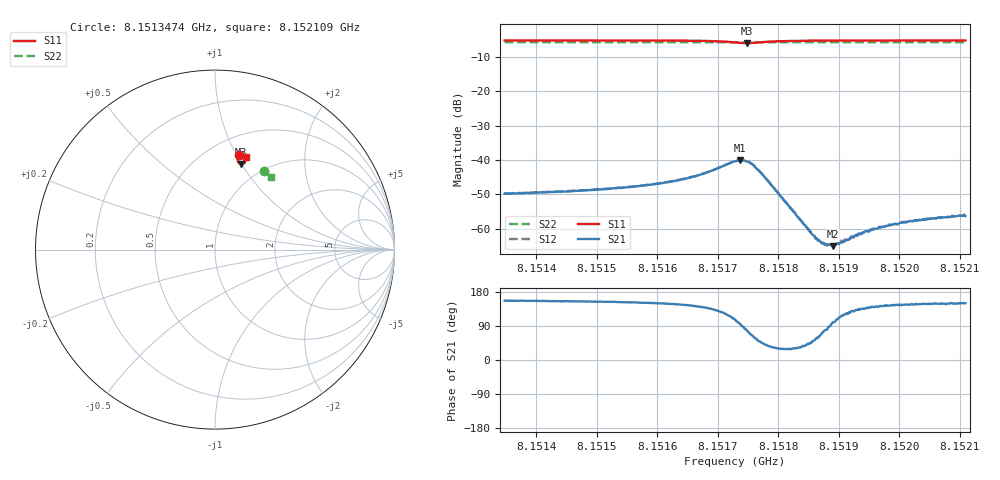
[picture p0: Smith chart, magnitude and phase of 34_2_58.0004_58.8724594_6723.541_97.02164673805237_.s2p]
#  HZ  S  RI  R  50.00
! Rohde & Schwarz Vector Network Analyzer
! Rohde-Schwarz,ZNB20-2Port,1311601062101988,3.16
! Created: UTC 3/21/2024, 12:51:48 AM
! freq[Hz]  re:S11  im:S11  re:S21  im:S21  re:S12  im:S12  re:S22  im:S22
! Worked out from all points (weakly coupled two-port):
!   401 points, 8.1513474 GHz to 8.152109 GHz, reference 50 ohm
!   highest |S21| = -40.03 dB at 8.1517358 GHz (marker M1); lowest = -65.0 dB at 8.15189 GHz (marker M2)
!   lowest |S11| = -6.1 dB at 8.1517472 GHz (marker M3), VSWR 2.98, Z = 39.1 + j49.6 ohm
!   |S11| at or under -10 dB: nowhere
!   |S22| runs from -5.8 to -5.8 dB; largest |S21 - S12| = 0.00027
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8.15134736e9  0.131 0.5278  -0.00299 0.00128  -0.00299 0.00134  0.273 0.4354
8.15147493e9  0.1414 0.525  -0.00326 0.00157  -0.00327 0.00162  0.2801 0.4307
8.15156252e9  0.1498 0.5221  -0.00365 0.00195  -0.00363 0.00202  0.2848 0.4275
8.15160251e9  0.1544 0.5201  -0.00393 0.00229  -0.0039 0.00238  0.287 0.426
8.15166534e9  0.1635 0.513  -0.00466 0.0037  -0.00465 0.00376  0.2903 0.4234
8.15172818e9  0.1639 0.4829  -0.00269 0.00921  -0.00261 0.00932  0.293 0.4199
8.15173579e9  0.157 0.4781  -0.0011 0.00991  -0.000953 0.00995  0.293 0.4197
8.15174722e9  0.1428 0.4769  0.00179 0.0094  0.00194 0.00946  0.2932 0.4195
8.15175864e9  0.1312 0.4848  0.00401 0.00738  0.00404 0.00747  0.2935 0.4195
8.15177387e9  0.1272 0.4992  0.00438 0.00426  0.00449 0.00427  0.2941 0.4197
8.15185575e9  0.1476 0.5195  0.000546 0.000632  0.000569 0.000667  0.2995 0.4169
8.15186527e9  0.1492 0.5196  0.000362 0.000582  0.000372 0.000564  0.2999 0.4165
8.15187289e9  0.1504 0.5196  0.000195 0.000601  0.000202 0.000572  0.3003 0.4162
8.1518805e9  0.1516 0.5197  9.37e-05 0.000566  6.07e-05 0.000584  0.3006 0.416
8.15189002e9  0.1529 0.5197  -9.44e-05 0.000554  -6.27e-05 0.000584  0.3012 0.4156
8.15190335e9  0.1548 0.5197  -0.000269 0.000583  -0.000268 0.000621  0.3022 0.4152
8.15194334e9  0.1594 0.5192  -0.000663 0.000638  -0.000645 0.000652  0.3041 0.4135
8.15195476e9  0.1607 0.519  -0.000749 0.000629  -0.000739 0.000654  0.3046 0.413
8.15198332e9  0.1634 0.5185  -0.000933 0.000684  -0.000921 0.000703  0.3061 0.4118
8.15200427e9  0.1654 0.518  -0.00103 0.000696  -0.00104 0.000712  0.3073 0.4111
8.15202902e9  0.1675 0.5177  -0.0011 0.000714  -0.0011 0.000759  0.3085 0.4101
8.15210899e9  0.1741 0.5159  -0.00133 0.00077  -0.00137 0.000823  0.3126 0.4068
